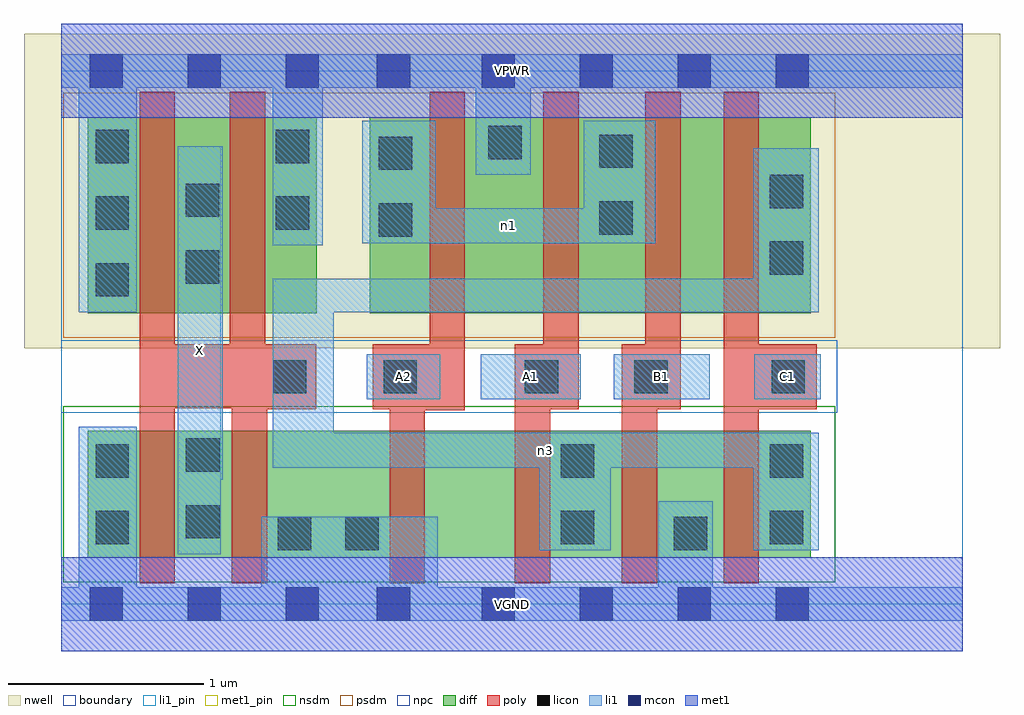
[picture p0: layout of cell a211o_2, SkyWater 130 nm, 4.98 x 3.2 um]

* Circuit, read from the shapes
.subckt a211o_2 A1 A2 B1 C1 VGND VPWR X n1 n3
XM1 X n3 VGND VSUBS sky130_fd_pr__nfet_01v8 w=0.65 l=0.18 m=2
XM2 n2 A2 VGND VSUBS sky130_fd_pr__nfet_01v8 w=0.65 l=0.18
XM3 n3 A1 n2 VSUBS sky130_fd_pr__nfet_01v8 w=0.65 l=0.18
XM4 VGND B1 n3 VSUBS sky130_fd_pr__nfet_01v8 w=0.65 l=0.18
XM5 n3 C1 VGND VSUBS sky130_fd_pr__nfet_01v8 w=0.65 l=0.18
XM6 X n3 VPWR n4 sky130_fd_pr__pfet_01v8 w=1 l=0.18 m=2
XM7 VPWR A2 n1 n4 sky130_fd_pr__pfet_01v8 w=1 l=0.18
XM8 n1 A1 VPWR n4 sky130_fd_pr__pfet_01v8 w=1 l=0.18
XM9 n5 B1 n1 n4 sky130_fd_pr__pfet_01v8 w=1 l=0.18
XM10 n3 C1 n5 n4 sky130_fd_pr__pfet_01v8 w=1 l=0.18
.ends

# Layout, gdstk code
import gdstk
lib = gdstk.Library(unit=1e-6, precision=1e-09)
def R(c, l, rs):  # rectangles x0, y0, x1, y1
    for r in rs: c.add(gdstk.rectangle(r[:2], r[2:], *l))
def A(c, l, x, y, w, h, nx, ny, dx, dy):  # array of equal rectangles
    R(c, l, [(x+i*dx, y+j*dy, x+i*dx+w, y+j*dy+h) for i in range(nx) for j in range(ny)])
nwell = (64, 20)
diff = (65, 20)
poly = (66, 20)
licon = (66, 44)
li1_pin = (67, 16)
li1 = (67, 20)
mcon = (67, 44)
met1_pin = (68, 16)
met1 = (68, 20)
nsdm = (93, 44)
psdm = (94, 20)
npc = (95, 20)
boundary = (235, 4)

a211o_2 = lib.new_cell('a211o_2')
R(a211o_2, nwell, [(-0.19,1.305,4.79,2.91), (0,1.305,4.6,2.91)])
R(a211o_2, diff, [(0.135,0.235,3.825,0.885), (0.135,1.485,1.305,2.485), (1.575,1.485,3.825,2.485)])
R(a211o_2, poly, [(0.4,0.105,0.58,2.615), (0.87,0.105,1.05,1.325), (1.675,0.105,1.855,1.325), (2.315,0.105,2.495,1.325), (2.86,0.105,3.04,1.325), (3.38,0.105,3.56,2.615), (1.675,0.99,2.06,1.325), (1.88,0.99,2.06,2.615), (0.87,0.995,1.3,1.325), (1.59,0.995,2.06,1.325), (2.46,0.995,2.64,2.615), (2.98,0.995,3.16,2.615), (3.38,0.995,3.855,1.325), (0.4,1,1.3,1.325), (0.86,1,1.04,2.615)])
A(a211o_2, licon, 0.175, 1.57, 0.17, 0.17, 1, 3, 0, 0.34)
R(a211o_2, licon, [(1.105,0.275,1.275,0.445), (1.45,0.275,1.62,0.445), (3.125,0.275,3.295,0.445), (0.175,0.305,0.345,0.475), (2.55,0.305,2.72,0.475), (3.615,0.305,3.785,0.475), (0.635,0.335,0.805,0.505), (0.64,0.335,0.81,0.505), (0.175,0.645,0.345,0.815), (2.55,0.645,2.72,0.815), (3.615,0.645,3.785,0.815), (0.635,0.675,0.805,0.845), (0.64,0.675,0.81,0.845), (1.08,1.075,1.25,1.245), (1.645,1.075,1.815,1.245), (2.365,1.075,2.535,1.245), (2.925,1.075,3.095,1.245), (3.625,1.075,3.795,1.245), (0.635,1.635,0.805,1.805), (3.615,1.68,3.785,1.85), (1.62,1.875,1.79,2.045), (2.745,1.885,2.915,2.055), (1.095,1.91,1.265,2.08), (0.635,1.975,0.805,2.145), (3.615,2.02,3.785,2.19), (1.62,2.215,1.79,2.385), (2.745,2.225,2.915,2.395), (1.095,2.25,1.265,2.42), (2.18,2.27,2.35,2.44)])
R(a211o_2, li1_pin, [(0.595,0.255,0.815,2.335), (1.56,1.045,1.935,1.275), (2.14,1.045,2.65,1.275), (2.82,1.045,3.31,1.275), (3.535,1.045,3.875,1.275)])
R(a211o_2, li1, [(0,-0.085,4.6,0.085), (0.09,-0.085,0.385,0.905), (1.02,-0.085,1.92,0.445), (3.045,-0.085,3.325,0.525), (0.595,0.255,0.815,2.335), (2.44,0.275,2.805,0.875), (3.53,0.275,3.865,0.875), (0.595,0.635,0.825,2.335), (1.08,0.695,3.865,0.875), (1.08,0.695,1.39,1.66), (1.56,1.045,1.935,1.275), (2.14,1.045,2.65,1.275), (2.82,1.045,3.31,1.275), (3.535,1.045,3.875,1.275), (0.09,1.49,0.385,2.805), (1.08,1.49,3.865,1.66), (3.53,1.49,3.865,2.325), (1.08,1.83,1.335,2.805), (1.535,1.84,3.03,2.02), (1.535,1.84,1.91,2.465), (2.665,1.84,3.03,2.465), (2.115,2.19,2.395,2.805), (0,2.635,4.6,2.805)])
A(a211o_2, mcon, 0.145, -0.085, 0.17, 0.17, 3, 2, 0.5, 2.72)
A(a211o_2, mcon, 2.145, -0.085, 0.17, 0.17, 4, 2, 0.5, 2.72)
R(a211o_2, mcon, [(1.61,-0.085,1.78,0.085), (1.61,2.635,1.78,2.805)])
R(a211o_2, met1_pin, [(0,-0.24,4.6,0.24), (0,2.48,4.6,2.96)])
R(a211o_2, met1, [(0,-0.24,4.6,0.24), (0,2.48,4.6,2.96)])
R(a211o_2, nsdm, [(0.01,0.11,3.95,1.01)])
R(a211o_2, psdm, [(0.01,1.36,3.95,2.61)])
R(a211o_2, npc, [(0,0.975,3.96,1.345)])
R(a211o_2, boundary, [(0,0,4.6,2.72)])
a211o_2.add(gdstk.Label('A1', (2.395,1.16), layer=67, texttype=5))
a211o_2.add(gdstk.Label('A2', (1.747,1.16), layer=67, texttype=5))
a211o_2.add(gdstk.Label('B1', (3.065,1.16), layer=67, texttype=5))
a211o_2.add(gdstk.Label('C1', (3.705,1.16), layer=67, texttype=5))
a211o_2.add(gdstk.Label('X', (0.705,1.295), layer=67, texttype=5))
a211o_2.add(gdstk.Label('n3', (2.472,0.785), layer=67, texttype=5))
a211o_2.add(gdstk.Label('n1', (2.282,1.93), layer=67, texttype=5))
a211o_2.add(gdstk.Label('VPWR', (2.3,2.72), layer=68, texttype=5))
a211o_2.add(gdstk.Label('VGND', (2.3,0), layer=68, texttype=5))
a211o_2.add(gdstk.Label('A1', (2.395,1.16), layer=67, texttype=16))
a211o_2.add(gdstk.Label('A2', (1.747,1.16), layer=67, texttype=16))
a211o_2.add(gdstk.Label('B1', (3.065,1.16), layer=67, texttype=16))
a211o_2.add(gdstk.Label('C1', (3.705,1.16), layer=67, texttype=16))
a211o_2.add(gdstk.Label('X', (0.705,1.295), layer=67, texttype=16))
a211o_2.add(gdstk.Label('VPWR', (2.3,2.72), layer=68, texttype=16))
a211o_2.add(gdstk.Label('VGND', (2.3,0), layer=68, texttype=16))

lib.write_gds('a211o_2.gds')
